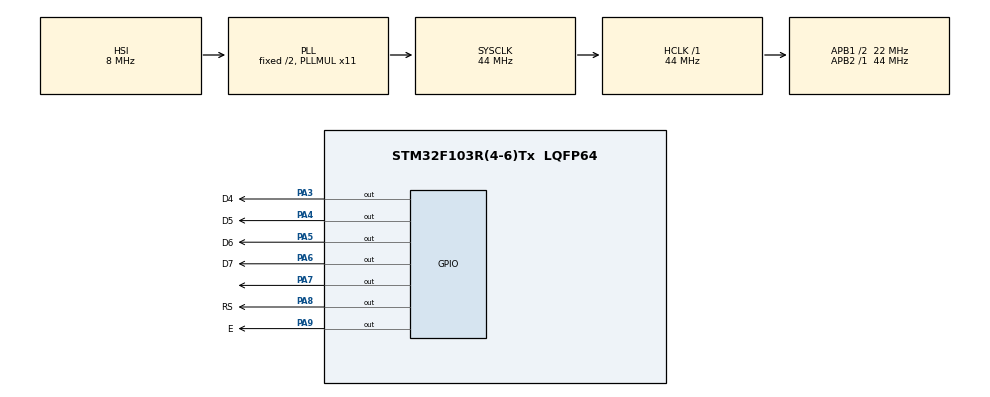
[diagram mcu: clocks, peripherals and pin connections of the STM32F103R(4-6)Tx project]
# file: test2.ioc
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Mcu.Family=STM32F1
Mcu.Name=STM32F103R(4-6)Tx
Mcu.Package=LQFP64
NVIC.PriorityGroup=NVIC_PRIORITYGROUP_4
PA3.GPIO_Label=D4
PA3.Signal=GPIO_Output
PA4.GPIO_Label=D5
PA4.Signal=GPIO_Output
PA5.GPIO_Label=D6
PA5.Signal=GPIO_Output
PA6.GPIO_Label=D7
PA6.Signal=GPIO_Output
PA7.Signal=GPIO_Output
PA8.GPIO_Label=RS
PA8.Signal=GPIO_Output
PA9.GPIO_Label=E
PA9.Signal=GPIO_Output
ProjectManager.HeapSize=0x200
ProjectManager.StackSize=0x400
ProjectManager.TargetToolchain=STM32CubeIDE
RCC.AHBFreq_Value=44000000
RCC.APB1CLKDivider=RCC_HCLK_DIV2
RCC.APB1Freq_Value=22000000
RCC.APB1TimFreq_Value=44000000
RCC.APB2Freq_Value=44000000
RCC.APB2TimFreq_Value=44000000
RCC.HCLKFreq_Value=44000000
RCC.PLLMUL=RCC_PLL_MUL11
RCC.SYSCLKFreq_VALUE=44000000
RCC.SYSCLKSource=RCC_SYSCLKSOURCE_PLLCLK
RCC.USBFreq_Value=44000000
board=custom

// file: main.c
/* USER CODE BEGIN Header */
/**
  ******************************************************************************
  * @file           : main.c
  * @brief          : Main program body
  ******************************************************************************
  * @attention
  *
  * Copyright (c) 2023 STMicroelectronics.
  * All rights reserved.
  *
  * This software is licensed under terms that can be found in the LICENSE file
  * in the root directory of this software component.
  * If no LICENSE file comes with this software, it is provided AS-IS.
  *
  ******************************************************************************
  */
/* USER CODE END Header */
#include "main.h"

/* USER CODE BEGIN Includes */
#include "string.h"
#include "lcd.h"
#include "stdio.h"
/* USER CODE END Includes */

/* USER CODE BEGIN PV */
uint16_t condition_1 = 0;
int a = 492;
float b;
char buffer1[20];
char buffer2[20];
/* USER CODE END PV */

void SystemClock_Config(void);
static void MX_GPIO_Init(void);

int main(void)
{

  /* MCU Configuration--------------------------------------------------------*/

  /* Reset of all peripherals, Initializes the Flash interface and the Systick. */
  HAL_Init();

  /* Configure the system clock */
  SystemClock_Config();

  /* Initialize all configured peripherals */
  MX_GPIO_Init();
  /* USER CODE BEGIN 2 */
  b = (float)a / 7;
  Lcd_PortType ports [] = {
  		D4_GPIO_Port, D5_GPIO_Port, D6_GPIO_Port, D7_GPIO_Port
  };
  Lcd_PinType pins [] = {
  		D4_Pin, D5_Pin, D6_Pin, D7_Pin
  };

  Lcd_HandleTypeDef lcd = Lcd_create(ports, pins, RS_GPIO_Port, RS_Pin, E_GPIO_Port, E_Pin, LCD_4_BIT_MODE);
  /* USER CODE END 2 */

  /* Infinite loop */
  /* USER CODE BEGIN WHILE */
  while (1)
  {
	  Lcd_cursor(&lcd, 0, 0);
	  sprintf(buffer1, "%d", a); // Format the value of 'b' with 4 decimal places into the buffer

	  Lcd_string(&lcd, buffer1);
	  Lcd_cursor(&lcd, 1, 0);
	  sprintf(buffer2, "%d.%04d", (int)b, (int)(b * 10000) % 10000);

	  Lcd_string(&lcd,buffer2);
	  HAL_Delay(1000);
	  Lcd_clear(&lcd);

    /* USER CODE END WHILE */

  }
}

void SystemClock_Config(void)
{
  RCC_OscInitTypeDef RCC_OscInitStruct = {0};
  RCC_ClkInitTypeDef RCC_ClkInitStruct = {0};

  /** Initializes the RCC Oscillators according to the specified parameters
  * in the RCC_OscInitTypeDef structure.
  */
  RCC_OscInitStruct.OscillatorType = RCC_OSCILLATORTYPE_HSI;
  RCC_OscInitStruct.HSIState = RCC_HSI_ON;
  RCC_OscInitStruct.HSICalibrationValue = RCC_HSICALIBRATION_DEFAULT;
  RCC_OscInitStruct.PLL.PLLState = RCC_PLL_ON;
  RCC_OscInitStruct.PLL.PLLSource = RCC_PLLSOURCE_HSI_DIV2;
  RCC_OscInitStruct.PLL.PLLMUL = RCC_PLL_MUL11;
  if (HAL_RCC_OscConfig(&RCC_OscInitStruct) != HAL_OK)
  {
    Error_Handler();
  }

  /** Initializes the CPU, AHB and APB buses clocks
  */
  RCC_ClkInitStruct.ClockType = RCC_CLOCKTYPE_HCLK|RCC_CLOCKTYPE_SYSCLK
                              |RCC_CLOCKTYPE_PCLK1|RCC_CLOCKTYPE_PCLK2;
  RCC_ClkInitStruct.SYSCLKSource = RCC_SYSCLKSOURCE_PLLCLK;
  RCC_ClkInitStruct.AHBCLKDivider = RCC_SYSCLK_DIV1;
  RCC_ClkInitStruct.APB1CLKDivider = RCC_HCLK_DIV2;
  RCC_ClkInitStruct.APB2CLKDivider = RCC_HCLK_DIV1;

  if (HAL_RCC_ClockConfig(&RCC_ClkInitStruct, FLASH_LATENCY_1) != HAL_OK)
  {
    Error_Handler();
  }
}

static void MX_GPIO_Init(void)
{
  GPIO_InitTypeDef GPIO_InitStruct = {0};

  /* GPIO Ports Clock Enable */
  __HAL_RCC_GPIOA_CLK_ENABLE();

  /*Configure GPIO pin Output Level */
  HAL_GPIO_WritePin(GPIOA, D4_Pin|D5_Pin|D6_Pin|D7_Pin
                          |GPIO_PIN_7|RS_Pin|E_Pin, GPIO_PIN_RESET);

  /*Configure GPIO pins : D4_Pin D5_Pin D6_Pin D7_Pin
                           PA7 RS_Pin E_Pin */
  GPIO_InitStruct.Pin = D4_Pin|D5_Pin|D6_Pin|D7_Pin
                          |GPIO_PIN_7|RS_Pin|E_Pin;
  GPIO_InitStruct.Mode = GPIO_MODE_OUTPUT_PP;
  GPIO_InitStruct.Pull = GPIO_NOPULL;
  GPIO_InitStruct.Speed = GPIO_SPEED_FREQ_LOW;
  HAL_GPIO_Init(GPIOA, &GPIO_InitStruct);

}

void Error_Handler(void)
{
  __disable_irq();
  while (1)
  {
  }
}
